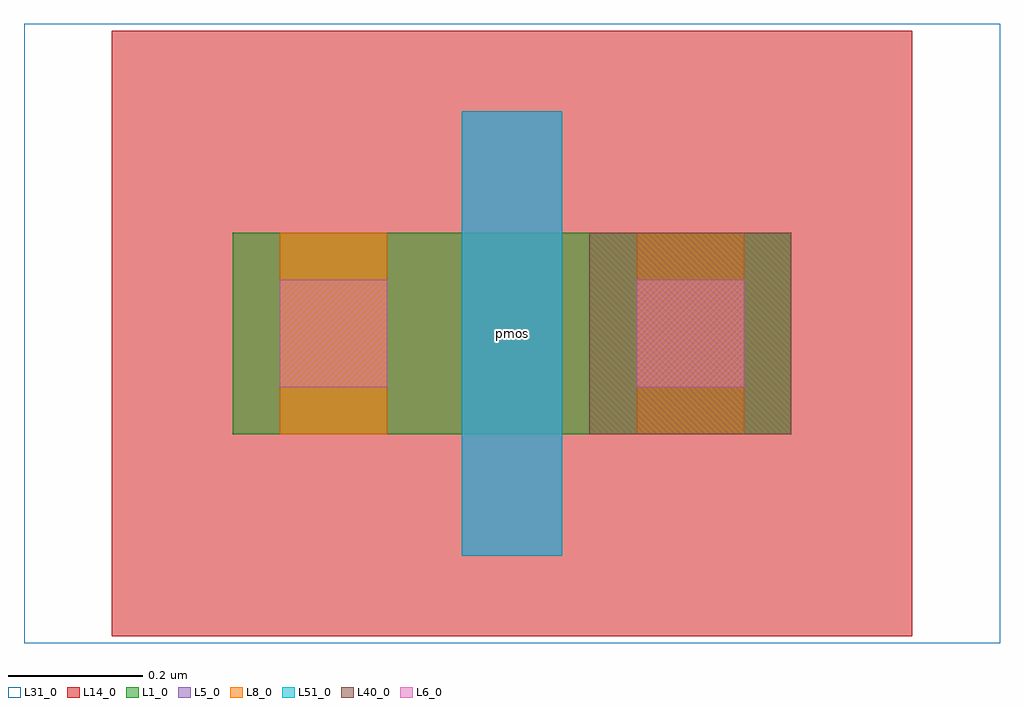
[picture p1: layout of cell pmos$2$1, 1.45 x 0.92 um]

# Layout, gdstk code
import gdstk
lib = gdstk.Library(unit=1e-6, precision=1e-09)
def R(c, l, rs):  # rectangles x0, y0, x1, y1
    for r in rs: c.add(gdstk.rectangle(r[:2], r[2:], *l))
L1_0 = (1, 0)
L5_0 = (5, 0)
L6_0 = (6, 0)
L8_0 = (8, 0)
L14_0 = (14, 0)
L31_0 = (31, 0)
L40_0 = (40, 0)
L51_0 = (51, 0)

pmos_2_1 = lib.new_cell('pmos$2$1')
R(pmos_2_1, L1_0, [(0,0,0.3,0.3), (0,0,0.83,0.3), (0.53,0,0.83,0.3)])
R(pmos_2_1, L5_0, [(0.34,-0.18,0.49,0.48), (0.34,-0.18,0.49,0.48)])
R(pmos_2_1, L6_0, [(0.07,0.07,0.23,0.23), (0.6,0.07,0.76,0.23)])
R(pmos_2_1, L8_0, [(0.07,0,0.23,0.3), (0.07,0,0.23,0.3), (0.6,0,0.76,0.3), (0.6,0,0.76,0.3)])
R(pmos_2_1, L14_0, [(-0.18,-0.3,1.01,0.6)])
R(pmos_2_1, L31_0, [(-0.31,-0.31,1.14,0.61)])
R(pmos_2_1, L40_0, [(0.53,0,0.83,0.3)])
R(pmos_2_1, L51_0, [(0.34,-0.18,0.49,0.48)])
pmos_2_1.add(gdstk.Label('pmos', (0.415,0.15), layer=63, texttype=0))
pmos_2_1.add(gdstk.Label('pmos', (0.415,0.15), layer=51, texttype=0))

lib.write_gds('pmos_2_1.gds')
